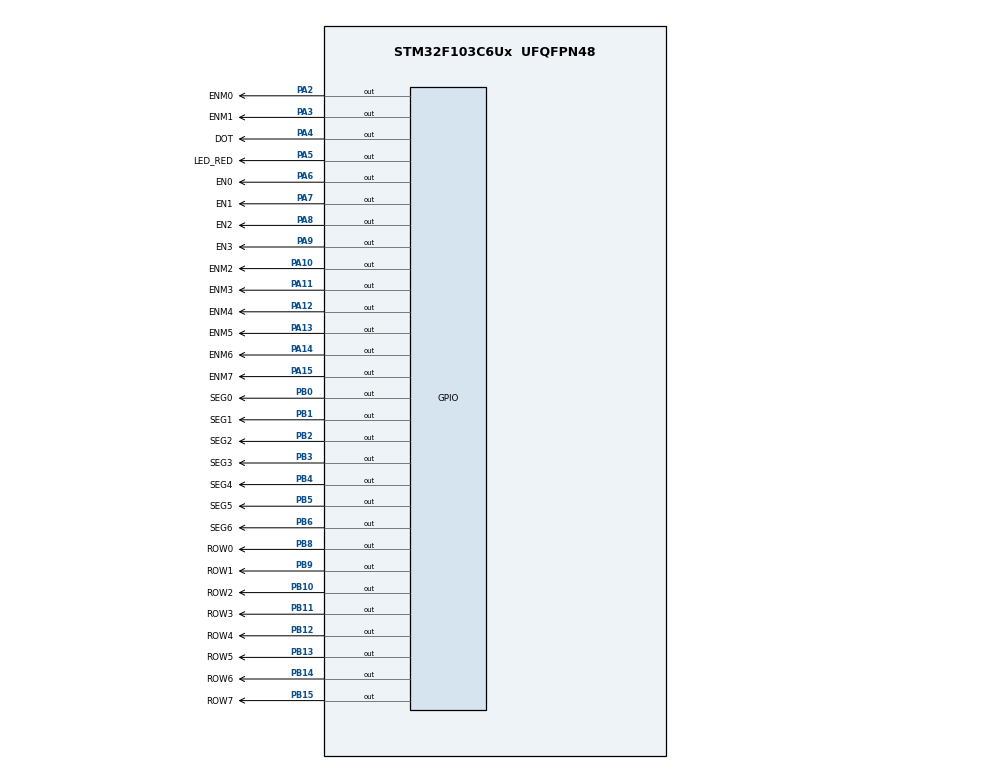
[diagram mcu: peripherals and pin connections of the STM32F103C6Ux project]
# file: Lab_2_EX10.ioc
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Mcu.Family=STM32F1
Mcu.Name=STM32F103C6Ux
Mcu.Package=UFQFPN48
NVIC.PriorityGroup=NVIC_PRIORITYGROUP_4
NVIC.TIM2_IRQn=true\:0\:0\:false\:false\:true\:true\:true
PA10.GPIO_Label=ENM2
PA10.Signal=GPIO_Output
PA11.GPIO_Label=ENM3
PA11.Signal=GPIO_Output
PA12.GPIO_Label=ENM4
PA12.Signal=GPIO_Output
PA13.GPIO_Label=ENM5
PA13.Signal=GPIO_Output
PA14.GPIO_Label=ENM6
PA14.Signal=GPIO_Output
PA15.GPIO_Label=ENM7
PA15.Signal=GPIO_Output
PA2.GPIO_Label=ENM0
PA2.Signal=GPIO_Output
PA3.GPIO_Label=ENM1
PA3.Signal=GPIO_Output
PA4.GPIO_Label=DOT
PA4.Signal=GPIO_Output
PA5.GPIO_Label=LED_RED
PA5.Signal=GPIO_Output
PA6.GPIO_Label=EN0
PA6.Signal=GPIO_Output
PA7.GPIO_Label=EN1
PA7.Signal=GPIO_Output
PA8.GPIO_Label=EN2
PA8.Signal=GPIO_Output
PA9.GPIO_Label=EN3
PA9.Signal=GPIO_Output
PB0.GPIO_Label=SEG0
PB0.Signal=GPIO_Output
PB1.GPIO_Label=SEG1
PB1.Signal=GPIO_Output
PB10.GPIO_Label=ROW2
PB10.Signal=GPIO_Output
PB11.GPIO_Label=ROW3
PB11.Signal=GPIO_Output
PB12.GPIO_Label=ROW4
PB12.Signal=GPIO_Output
PB13.GPIO_Label=ROW5
PB13.Signal=GPIO_Output
PB14.GPIO_Label=ROW6
PB14.Signal=GPIO_Output
PB15.GPIO_Label=ROW7
PB15.Signal=GPIO_Output
PB2.GPIO_Label=SEG2
PB2.Signal=GPIO_Output
PB3.GPIO_Label=SEG3
PB3.Signal=GPIO_Output
PB4.GPIO_Label=SEG4
PB4.Signal=GPIO_Output
PB5.GPIO_Label=SEG5
PB5.Signal=GPIO_Output
PB6.GPIO_Label=SEG6
PB6.Signal=GPIO_Output
PB8.GPIO_Label=ROW0
PB8.Signal=GPIO_Output
PB9.GPIO_Label=ROW1
PB9.Signal=GPIO_Output
ProjectManager.HeapSize=0x200
ProjectManager.StackSize=0x400
ProjectManager.TargetToolchain=STM32CubeIDE
RCC.APB1Freq_Value=8000000
RCC.APB2Freq_Value=8000000
TIM2.Period=9
TIM2.Prescaler=7999
VP_SYS_VS_ND.Mode=No_Debug
VP_TIM2_VS_ClockSourceINT.Mode=Internal
board=custom

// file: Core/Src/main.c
/* USER CODE BEGIN Header */
/**
  ******************************************************************************
  * @file           : main.c
  * @brief          : Main program body
  ******************************************************************************
  * @attention
  *
  * <h2><center>&copy; Copyright (c) 2026 STMicroelectronics.
  * All rights reserved.</center></h2>
  *
  * This software component is licensed by ST under BSD 3-Clause license,
  * the "License"; You may not use this file except in compliance with the
  * License. You may obtain a copy of the License at:
  *                        opensource.org/licenses/BSD-3-Clause
  *
  ******************************************************************************
  */
/* USER CODE END Header */
#include "main.h"

TIM_HandleTypeDef htim2;

void SystemClock_Config(void);
static void MX_GPIO_Init(void);
static void MX_TIM2_Init(void);

/* USER CODE BEGIN 0 */
const uint8_t seg_code[10] = {
  0x3F, 0x06, 0x5B, 0x4F, 0x66, 0x6D, 0x7D, 0x07, 0x7F, 0x6F
};

void display7SEG(int num) {
  if (num < 0 || num > 9) return;
  uint8_t code = seg_code[num];
  for (int i = 0; i < 7; i++) {
    // common anode: segment ON = write 0
    HAL_GPIO_WritePin(GPIOB, GPIO_PIN_0 << i,
                      ((code >> i) & 1) ? GPIO_PIN_RESET : GPIO_PIN_SET);
  }
}

const int MAX_LED = 4;
int index_led = 0;
int led_buffer[4] = {1, 2, 3, 4};

void update7SEG(int index) {
  // turn all 4 displays off first
  HAL_GPIO_WritePin(GPIOA, EN0_Pin | EN1_Pin | EN2_Pin | EN3_Pin, GPIO_PIN_SET);

  switch (index) {
    case 0:
      // Display the first 7SEG with led_buffer[0]
      display7SEG(led_buffer[0]);
      HAL_GPIO_WritePin(EN0_GPIO_Port, EN0_Pin, GPIO_PIN_RESET);
      break;
    case 1:
      // Display the second 7SEG with led_buffer[1]
      display7SEG(led_buffer[1]);
      HAL_GPIO_WritePin(EN1_GPIO_Port, EN1_Pin, GPIO_PIN_RESET);
      break;
    case 2:
      // Display the third 7SEG with led_buffer[2]
      display7SEG(led_buffer[2]);
      HAL_GPIO_WritePin(EN2_GPIO_Port, EN2_Pin, GPIO_PIN_RESET);
      break;
    case 3:
      // Display the fourth 7SEG with led_buffer[3]
      display7SEG(led_buffer[3]);
      HAL_GPIO_WritePin(EN3_GPIO_Port, EN3_Pin, GPIO_PIN_RESET);
      break;
    default:
      break;   // invalid index: leave everything off
  }
}

int hour = 15, minute = 8, second = 50;

void updateClockBuffer(void) {
  led_buffer[0] = hour / 10;     // tens of hour
  led_buffer[1] = hour % 10;     // units of hour
  led_buffer[2] = minute / 10;   // tens of minute
  led_buffer[3] = minute % 10;   // units of minute
}

int timer0_counter = 0;
int timer0_flag = 0;
int TIMER_CYCLE = 10;
int timer1_counter = 0;
int timer1_flag = 0;
int timer2_counter = 0;
int timer2_flag = 0;
int timer3_counter = 0;
int timer3_flag = 0;

void setTimer0(int duration) {
  timer0_counter = duration / TIMER_CYCLE;
  timer0_flag = 0;
}

void setTimer1(int duration) {
  timer1_counter = duration / TIMER_CYCLE;
  timer1_flag = 0;
}

void setTimer2(int duration) {
  timer2_counter = duration / TIMER_CYCLE;
  timer2_flag = 0;
}

void setTimer3(int duration) {
  timer3_counter = duration / TIMER_CYCLE;
  timer3_flag = 0;
}

void timer_run() {
  if (timer0_counter > 0) {
    timer0_counter--;
    if (timer0_counter == 0) timer0_flag = 1;
  }

  if (timer1_counter > 0) {
    timer1_counter--;
    if (timer1_counter == 0) timer1_flag = 1;
  }

  if (timer2_counter > 0) {
    timer2_counter--;
    if (timer2_counter == 0) timer2_flag = 1;
  }

  if (timer3_counter > 0) {
    timer3_counter--;
    if (timer3_counter == 0) timer3_flag = 1;
  }
}

#define ENM_ON   GPIO_PIN_RESET   // ULN off -> column pulled HIGH (anode on)
#define ENM_OFF  GPIO_PIN_SET     // ULN on  -> column pulled LOW  (off)
#define ROW_ON   GPIO_PIN_RESET   // row LOW -> LED on
#define ROW_OFF  GPIO_PIN_SET

const int MAX_LED_MATRIX = 8;
int index_led_matrix = 0;
uint8_t matrix_buffer[8] = {0x00, 0x7C, 0x12, 0x11, 0x11, 0x12, 0x7C, 0x00};

void displayRow(uint8_t data) {
  // bit i of data -> ROWi (PB8 + i)
  for (int i = 0; i < 8; i++) {
    HAL_GPIO_WritePin(GPIOB, GPIO_PIN_8 << i, ((data >> i) & 1) ? ROW_ON : ROW_OFF);

  }
}

void updateLEDMatrix(int index) {
  // turn all columns off first (avoid ghosting)
  HAL_GPIO_WritePin(ENM0_GPIO_Port, ENM0_Pin, ENM_OFF);
  HAL_GPIO_WritePin(ENM1_GPIO_Port, ENM1_Pin, ENM_OFF);
  HAL_GPIO_WritePin(ENM2_GPIO_Port, ENM2_Pin, ENM_OFF);
  HAL_GPIO_WritePin(ENM3_GPIO_Port, ENM3_Pin, ENM_OFF);
  HAL_GPIO_WritePin(ENM4_GPIO_Port, ENM4_Pin, ENM_OFF);
  HAL_GPIO_WritePin(ENM5_GPIO_Port, ENM5_Pin, ENM_OFF);
  HAL_GPIO_WritePin(ENM6_GPIO_Port, ENM6_Pin, ENM_OFF);
  HAL_GPIO_WritePin(ENM7_GPIO_Port, ENM7_Pin, ENM_OFF);

  switch (index) {
    case 0: displayRow(matrix_buffer[0]); HAL_GPIO_WritePin(ENM0_GPIO_Port, ENM0_Pin, ENM_ON); break;
    case 1: displayRow(matrix_buffer[1]); HAL_GPIO_WritePin(ENM1_GPIO_Port, ENM1_Pin, ENM_ON); break;
    case 2: displayRow(matrix_buffer[2]); HAL_GPIO_WritePin(ENM2_GPIO_Port, ENM2_Pin, ENM_ON); break;
    case 3: displayRow(matrix_buffer[3]); HAL_GPIO_WritePin(ENM3_GPIO_Port, ENM3_Pin, ENM_ON); break;
    case 4: displayRow(matrix_buffer[4]); HAL_GPIO_WritePin(ENM4_GPIO_Port, ENM4_Pin, ENM_ON); break;
    case 5: displayRow(matrix_buffer[5]); HAL_GPIO_WritePin(ENM5_GPIO_Port, ENM5_Pin, ENM_ON); break;
    case 6: displayRow(matrix_buffer[6]); HAL_GPIO_WritePin(ENM6_GPIO_Port, ENM6_Pin, ENM_ON); break;
    case 7: displayRow(matrix_buffer[7]); HAL_GPIO_WritePin(ENM7_GPIO_Port, ENM7_Pin, ENM_ON); break;
    default: break;
  }
}

void shiftLeftMatrix(void) {
  uint8_t first = matrix_buffer[0];               // save the leftmost column
  for (int i = 0; i < MAX_LED_MATRIX - 1; i++) {
    matrix_buffer[i] = matrix_buffer[i + 1];      // move each column one step left
  }
  matrix_buffer[MAX_LED_MATRIX - 1] = first;      // wrap it to the right end
}
/* USER CODE END 0 */

int main(void)
{

  /* MCU Configuration--------------------------------------------------------*/

  /* Reset of all peripherals, Initializes the Flash interface and the Systick. */
  HAL_Init();

  /* Configure the system clock */
  SystemClock_Config();

  /* Initialize all configured peripherals */
  MX_GPIO_Init();
  MX_TIM2_Init();
  /* USER CODE BEGIN 2 */
  HAL_TIM_Base_Start_IT(&htim2);
  /* USER CODE END 2 */

  /* Infinite loop */
  /* USER CODE BEGIN WHILE */

  updateClockBuffer();
  setTimer0(1000);
  setTimer1(250);
  setTimer2(10);
  setTimer3(500);
  while (1)
  {
	  // Clock + DOT blinking
	  if (timer0_flag == 1)
	  {
	    setTimer0(1000);
	    second++;
	    if (second >= 60)
	    {
	      second = 0;
	      minute++;
	    }
	    if (minute >= 60)
	    {
	      minute = 0;
	      hour++;
	    }
	    if (hour >= 24)
	    {
	      hour = 0;
	    }
	    updateClockBuffer();

	    HAL_GPIO_TogglePin(DOT_GPIO_Port, DOT_Pin);
	  }
	  // LED Scanning from callback
	  if (timer1_flag == 1)
	  {
	    setTimer1(250);
	    update7SEG(index_led++);
	    if (index_led >= MAX_LED) index_led = 0;
	  }

	  if (timer2_flag == 1) {
	    setTimer2(10);
	    updateLEDMatrix(index_led_matrix++);
	    if (index_led_matrix >= MAX_LED_MATRIX) index_led_matrix = 0;
	  }

	  if (timer3_flag == 1) {
	    setTimer3(500);
	    shiftLeftMatrix();
	  }
    /* USER CODE END WHILE */

  }
}

void SystemClock_Config(void)
{
  RCC_OscInitTypeDef RCC_OscInitStruct = {0};
  RCC_ClkInitTypeDef RCC_ClkInitStruct = {0};

  /** Initializes the RCC Oscillators according to the specified parameters
  * in the RCC_OscInitTypeDef structure.
  */
  RCC_OscInitStruct.OscillatorType = RCC_OSCILLATORTYPE_HSI;
  RCC_OscInitStruct.HSIState = RCC_HSI_ON;
  RCC_OscInitStruct.HSICalibrationValue = RCC_HSICALIBRATION_DEFAULT;
  RCC_OscInitStruct.PLL.PLLState = RCC_PLL_NONE;
  if (HAL_RCC_OscConfig(&RCC_OscInitStruct) != HAL_OK)
  {
    Error_Handler();
  }
  /** Initializes the CPU, AHB and APB buses clocks
  */
  RCC_ClkInitStruct.ClockType = RCC_CLOCKTYPE_HCLK|RCC_CLOCKTYPE_SYSCLK
                              |RCC_CLOCKTYPE_PCLK1|RCC_CLOCKTYPE_PCLK2;
  RCC_ClkInitStruct.SYSCLKSource = RCC_SYSCLKSOURCE_HSI;
  RCC_ClkInitStruct.AHBCLKDivider = RCC_SYSCLK_DIV1;
  RCC_ClkInitStruct.APB1CLKDivider = RCC_HCLK_DIV1;
  RCC_ClkInitStruct.APB2CLKDivider = RCC_HCLK_DIV1;

  if (HAL_RCC_ClockConfig(&RCC_ClkInitStruct, FLASH_LATENCY_0) != HAL_OK)
  {
    Error_Handler();
  }
}

static void MX_TIM2_Init(void)
{

  TIM_ClockConfigTypeDef sClockSourceConfig = {0};
  TIM_MasterConfigTypeDef sMasterConfig = {0};

  htim2.Instance = TIM2;
  htim2.Init.Prescaler = 7999;
  htim2.Init.CounterMode = TIM_COUNTERMODE_UP;
  htim2.Init.Period = 9;
  htim2.Init.ClockDivision = TIM_CLOCKDIVISION_DIV1;
  htim2.Init.AutoReloadPreload = TIM_AUTORELOAD_PRELOAD_DISABLE;
  if (HAL_TIM_Base_Init(&htim2) != HAL_OK)
  {
    Error_Handler();
  }
  sClockSourceConfig.ClockSource = TIM_CLOCKSOURCE_INTERNAL;
  if (HAL_TIM_ConfigClockSource(&htim2, &sClockSourceConfig) != HAL_OK)
  {
    Error_Handler();
  }
  sMasterConfig.MasterOutputTrigger = TIM_TRGO_RESET;
  sMasterConfig.MasterSlaveMode = TIM_MASTERSLAVEMODE_DISABLE;
  if (HAL_TIMEx_MasterConfigSynchronization(&htim2, &sMasterConfig) != HAL_OK)
  {
    Error_Handler();
  }

}

static void MX_GPIO_Init(void)
{
  GPIO_InitTypeDef GPIO_InitStruct = {0};

  /* GPIO Ports Clock Enable */
  __HAL_RCC_GPIOA_CLK_ENABLE();
  __HAL_RCC_GPIOB_CLK_ENABLE();

  /*Configure GPIO pin Output Level */
  HAL_GPIO_WritePin(GPIOA, ENM0_Pin|ENM1_Pin|DOT_Pin|LED_RED_Pin
                          |EN0_Pin|EN1_Pin|EN2_Pin|EN3_Pin
                          |ENM2_Pin|ENM3_Pin|ENM4_Pin|ENM5_Pin
                          |ENM6_Pin|ENM7_Pin, GPIO_PIN_RESET);

  /*Configure GPIO pin Output Level */
  HAL_GPIO_WritePin(GPIOB, SEG0_Pin|SEG1_Pin|SEG2_Pin|ROW2_Pin
                          |ROW3_Pin|ROW4_Pin|ROW5_Pin|ROW6_Pin
                          |ROW7_Pin|SEG3_Pin|SEG4_Pin|SEG5_Pin
                          |SEG6_Pin|ROW0_Pin|ROW1_Pin, GPIO_PIN_RESET);

  /*Configure GPIO pins : ENM0_Pin ENM1_Pin DOT_Pin LED_RED_Pin
                           EN0_Pin EN1_Pin EN2_Pin EN3_Pin
                           ENM2_Pin ENM3_Pin ENM4_Pin ENM5_Pin
                           ENM6_Pin ENM7_Pin */
  GPIO_InitStruct.Pin = ENM0_Pin|ENM1_Pin|DOT_Pin|LED_RED_Pin
                          |EN0_Pin|EN1_Pin|EN2_Pin|EN3_Pin
                          |ENM2_Pin|ENM3_Pin|ENM4_Pin|ENM5_Pin
                          |ENM6_Pin|ENM7_Pin;
  GPIO_InitStruct.Mode = GPIO_MODE_OUTPUT_PP;
  GPIO_InitStruct.Pull = GPIO_NOPULL;
  GPIO_InitStruct.Speed = GPIO_SPEED_FREQ_LOW;
  HAL_GPIO_Init(GPIOA, &GPIO_InitStruct);

  /*Configure GPIO pins : SEG0_Pin SEG1_Pin SEG2_Pin ROW2_Pin
                           ROW3_Pin ROW4_Pin ROW5_Pin ROW6_Pin
                           ROW7_Pin SEG3_Pin SEG4_Pin SEG5_Pin
                           SEG6_Pin ROW0_Pin ROW1_Pin */
  GPIO_InitStruct.Pin = SEG0_Pin|SEG1_Pin|SEG2_Pin|ROW2_Pin
                          |ROW3_Pin|ROW4_Pin|ROW5_Pin|ROW6_Pin
                          |ROW7_Pin|SEG3_Pin|SEG4_Pin|SEG5_Pin
                          |SEG6_Pin|ROW0_Pin|ROW1_Pin;
  GPIO_InitStruct.Mode = GPIO_MODE_OUTPUT_PP;
  GPIO_InitStruct.Pull = GPIO_NOPULL;
  GPIO_InitStruct.Speed = GPIO_SPEED_FREQ_LOW;
  HAL_GPIO_Init(GPIOB, &GPIO_InitStruct);

}

/* USER CODE BEGIN 4 */
void HAL_TIM_PeriodElapsedCallback(TIM_HandleTypeDef *htim) {
  if (htim->Instance != TIM2) return;
  timer_run();
}
/* USER CODE END 4 */

void Error_Handler(void)
{
  __disable_irq();
  while (1)
  {
  }
}

/************************ (C) COPYRIGHT STMicroelectronics *****END OF FILE****/
